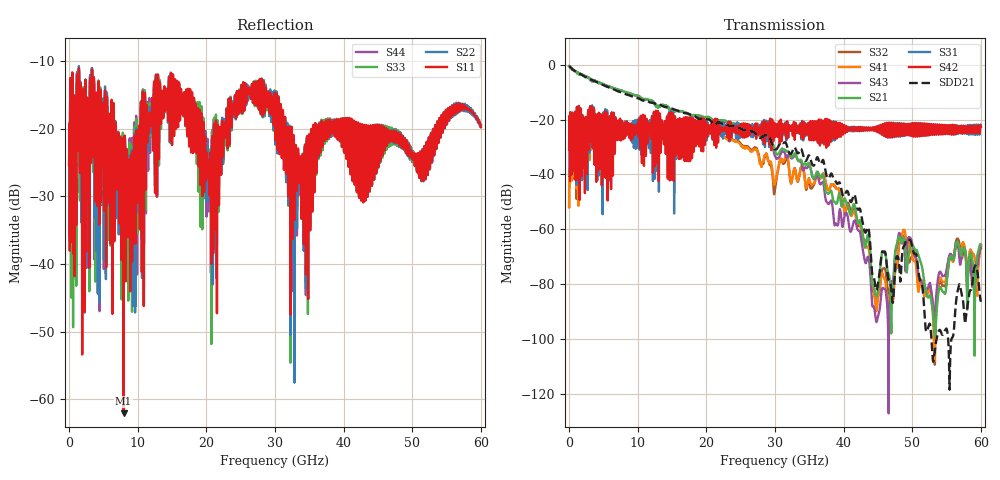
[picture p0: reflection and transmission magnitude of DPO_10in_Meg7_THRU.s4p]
! Tyco Electronics Strada Whisper System
! THRU_G1112
!! SYSTEM DESCRIPTION: Daughtercard-Footprint-Connector-Footprint-Daughtercard
!! PCB DESCRIPTION: DC: 140mil, Megtron7N, upper layer route, 15mil stub, 6-6-6mil 10" traces
!! CONNECTOR DESCRIPTION: Next-Gen STRADA Whisper Direct-Plug Orthogonal Connector
!! MODEL DESCRIPTION: Tyco Electronics System 4-port S-parameter
!! MODEL STATUS: Developmental
!! MODEL GEOMETRY: Channel Model
!! MODEL FREQUENCY RANGE: DC to 60 GHz in 10 MHz frequency steps
!! MODEL EDGE RATE LIMITATION: 8.3 ps (Using conservative 0.5/Fmax rule of thumb)
!! TIME-DOMAIN TRANSFORM CAUTIONS:
!! 1.) Do not simulate transient edge rates faster than the number listed above.  Edge rates faster than this number
!!  contain significant spectral content at frequencies above the model's highest frequency.
!! 2.) Even when simulating edge rates that are slower than the number listed above, be aware that the best time
!!  resolution possible with a direct iFFT is (1 / 2Fmax).  As a result, time resolution is typically not adequate
!!  for most time-domain simulations unless tricks such as windowing are used to minimize leakage and aliasing.
!! 3.) Because the model has a uniform frequency step, a direct iFFT will result in an impulse that that has a time
!!  length given by either (1 / Fstep) or (1 / 2Fstep), depending on the transform being used.  Care has been taken
!!  in selecting the frequency step to ensure a settled impulse response for the model.  Therefore, convolution with
!!  the model's impulse response should present no issues.  However, if directly concatenating s-parameter models
!!  in the frequency domain a user must either interpolate necessary interim frequencies or complete impulse response
!!  zero-padding.  Impulse response zero-padding is more difficult, but more accurate.
!! PORT DEFINITIONS:
!! Port  1  ----->  TX Side  G11  RX Side  <-----  Port  2
!! Port  3  ----->  TX Side  G12  RX Side  <-----  Port  4
! Touchstone data
! Created: 10-Dec-2018 by IdEM R2012 (8.0.5)
# Hz S MA R 50
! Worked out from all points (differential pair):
!   6000 points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, 10 MHz to 60 GHz, reference 50 ohm
!   strongest paths, dB at 10 MHz, 15.01 GHz, 30.01 GHz, 45.01 GHz, 60 GHz:
!     S42: -30.8, -24.1, -24.8, -23.5, -22.6
!     S31: -30.8, -35.4, -25.0, -23.5, -22.6
!     S21: -0.4, -16.7, -31.5, -82.6, -65.5
!     S43: -0.4, -16.6, -33.2, -91.9, -66.3
!     S41: -51.9, -24.0, -43.0, -84.9, -66.0
!     S32: -51.9, -24.1, -45.2, -85.0, -66.8
!   taken as a pair (ports 1,3 in; 2,4 out), SDD21 dB: -0.4, -16.0, -30.8, -79.9, -86.5
!   lowest |S11| = -62.1 dB at 7.95 GHz (marker M1), VSWR 1.00, Z = 50.1 - j0.0557 ohm
!   |S11| at or under -10 dB: start of sweep to end of sweep
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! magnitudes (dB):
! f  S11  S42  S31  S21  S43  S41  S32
! 10 MHz  -25.3  -30.8  -30.8  -0.4  -0.4  -51.9  -51.9
! 7.95 GHz  -62.1  -22.4  -25.4  -9.6  -9.6  -21.5  -21.4
! 37.04 GHz  -20.0  -20.7  -20.7  -40.3  -43.0  -39.8  -39.6
! 44.43 GHz  -27.2  -23.2  -23.3  -81.0  -88.5  -82.8  -83.4
! 48.71 GHz  -22.2  -22.7  -22.6  -63.2  -64.9  -60.3  -62.5
! 51.76 GHz  -22.9  -23.1  -23.1  -79.4  -81.1  -84.5  -81.2
! 60 GHz  -19.8  -22.6  -22.6  -65.5  -66.3  -66.0  -66.8
